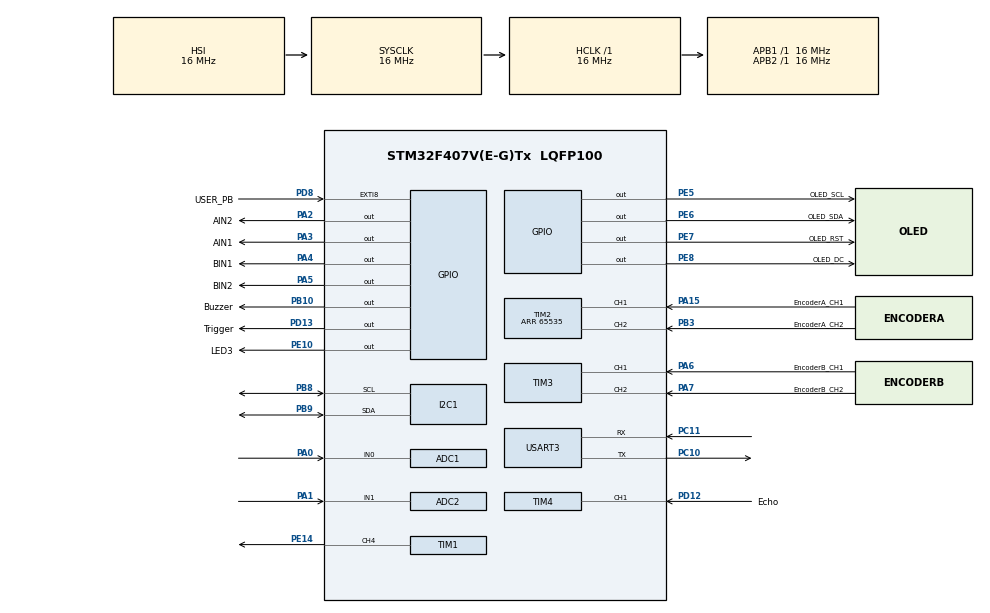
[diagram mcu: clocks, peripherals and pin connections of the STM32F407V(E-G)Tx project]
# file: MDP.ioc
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ADC1.Channel-0\#ChannelRegularConversion=ADC_CHANNEL_0
ADC1.NbrOfConversionFlag=1
ADC1.Rank-0\#ChannelRegularConversion=1
ADC1.SamplingTime-0\#ChannelRegularConversion=ADC_SAMPLETIME_3CYCLES
ADC1.master=1
ADC2.Channel-0\#ChannelRegularConversion=ADC_CHANNEL_1
ADC2.NbrOfConversionFlag=1
ADC2.Rank-0\#ChannelRegularConversion=1
ADC2.SamplingTime-0\#ChannelRegularConversion=ADC_SAMPLETIME_3CYCLES
FREERTOS.Tasks01=defaultTask,24,128,StartDefaultTask,Default,NULL,Dynamic,NULL,NULL;motorTask,8,128,StartMotorTask,Default,NULL,Dynamic,NULL,NULL;OLEDTask,8,128,StartOLEDTask,Default,NULL,Dynamic,NULL,NULL;gyroTask,8,128,StartGyroTask,Default,NULL,Dynamic,NULL,NULL;ultrasonicTask,8,128,StartUltrasonicTask,Default,NULL,Dynamic,NULL,NULL;communicateTask,8,128,StartCommunicateTask,Default,NULL,Dynamic,NULL,NULL;encoderTask,8,128,StartEncoderTask,Default,NULL,Dynamic,NULL,NULL;IRTask,8,128,StartIRTask,Default,NULL,Dynamic,NULL,NULL
FREERTOS.configUSE_NEWLIB_REENTRANT=1
Mcu.Family=STM32F4
Mcu.Name=STM32F407V(E-G)Tx
Mcu.Package=LQFP100
NVIC.PriorityGroup=NVIC_PRIORITYGROUP_4
NVIC.RCC_IRQn=true\:5\:0\:false\:false\:true\:true\:true\:false\:true
NVIC.TIM1_BRK_TIM9_IRQn=true\:5\:0\:false\:false\:true\:false\:true\:true\:true
NVIC.TIM1_UP_TIM10_IRQn=true\:5\:0\:false\:false\:true\:false\:true\:true\:true
NVIC.TIM4_IRQn=true\:5\:0\:false\:false\:true\:true\:true\:true\:true
NVIC.TIM8_TRG_COM_TIM14_IRQn=true\:5\:0\:false\:false\:true\:false\:true\:true\:true
NVIC.USART3_IRQn=true\:5\:0\:false\:false\:true\:true\:true\:true\:true
PA0-WKUP.Signal=ADCx_IN0
PA1.Signal=ADCx_IN1
PA15.GPIO_Label=EncoderA_CH1
PA15.Signal=S_TIM2_CH1_ETR
PA2.GPIO_Label=AIN2
PA2.GPIO_Speed=GPIO_SPEED_FREQ_HIGH
PA2.PinState=GPIO_PIN_RESET
PA2.Signal=GPIO_Output
PA3.GPIO_Label=AIN1
PA3.GPIO_Speed=GPIO_SPEED_FREQ_HIGH
PA3.Signal=GPIO_Output
PA4.GPIO_Label=BIN1
PA4.GPIO_Speed=GPIO_SPEED_FREQ_HIGH
PA4.Signal=GPIO_Output
PA5.GPIO_Label=BIN2
PA5.GPIO_Speed=GPIO_SPEED_FREQ_HIGH
PA5.Signal=GPIO_Output
PA6.GPIO_Label=EncoderB_CH1
PA6.Signal=S_TIM3_CH1
PA7.GPIO_Label=EncoderB_CH2
PA7.Signal=S_TIM3_CH2
PB10.GPIO_Label=Buzzer
PB10.Signal=GPIO_Output
PB3.GPIO_Label=EncoderA_CH2
PB3.Signal=S_TIM2_CH2
PB8.Mode=I2C
PB8.Signal=I2C1_SCL
PB9.Mode=I2C
PB9.Signal=I2C1_SDA
PC10.Mode=Asynchronous
PC10.Signal=USART3_TX
PC11.Mode=Asynchronous
PC11.Signal=USART3_RX
PC6.GPIO_Label=PWMA
PC6.Signal=S_TIM8_CH1
PC7.GPIO_Label=PWMB
PC7.Signal=S_TIM8_CH2
PD12.GPIO_Label=Echo
PD12.Signal=S_TIM4_CH1
PD13.GPIO_Label=Trigger
PD13.Signal=GPIO_Output
PD8.GPIO_Label=USER_PB
PD8.Signal=GPXTI8
PE10.GPIO_Label=LED3
PE10.Signal=GPIO_Output
PE14.Signal=S_TIM1_CH4
PE5.GPIO_Label=OLED_SCL
PE5.Signal=GPIO_Output
PE6.GPIO_Label=OLED_SDA
PE6.Signal=GPIO_Output
PE7.GPIO_Label=OLED_RST
PE7.Signal=GPIO_Output
PE8.GPIO_Label=OLED_DC
PE8.Signal=GPIO_Output
PH0-OSC_IN.Mode=HSE-External-Oscillator
PH0-OSC_IN.Signal=RCC_OSC_IN
PH1-OSC_OUT.Mode=HSE-External-Oscillator
PH1-OSC_OUT.Signal=RCC_OSC_OUT
ProjectManager.HeapSize=0x200
ProjectManager.StackSize=0x400
ProjectManager.TargetToolchain=STM32CubeIDE
RCC.AHBFreq_Value=16000000
RCC.APB1Freq_Value=16000000
RCC.APB2Freq_Value=16000000
RCC.CortexFreq_Value=16000000
RCC.HSE_VALUE=25000000
RCC.HSI_VALUE=16000000
RCC.LSE_VALUE=32768
RCC.SYSCLKFreq_VALUE=16000000
RCC.VCOOutputFreq_Value=192000000
SH.ADCx_IN0.0=ADC1_IN0,IN0
SH.ADCx_IN1.0=ADC2_IN1,IN1
SH.S_TIM1_CH4.0=TIM1_CH4,PWM Generation4 CH4
SH.S_TIM2_CH1_ETR.0=TIM2_CH1,Encoder_Interface
SH.S_TIM2_CH2.0=TIM2_CH2,Encoder_Interface
SH.S_TIM3_CH1.0=TIM3_CH1,Encoder_Interface
SH.S_TIM3_CH2.0=TIM3_CH2,Encoder_Interface
SH.S_TIM4_CH1.0=TIM4_CH1,Input_Capture1_from_TI1
SH.S_TIM8_CH1.0=TIM8_CH1
SH.S_TIM8_CH2.0=TIM8_CH2
TIM1.AutoReloadPreload=TIM_AUTORELOAD_PRELOAD_ENABLE
TIM1.Channel-PWM\ Generation4\ CH4=TIM_CHANNEL_4
TIM1.Period=1000
TIM1.Prescaler=160
TIM2.EncoderMode=TIM_ENCODERMODE_TI12
TIM2.IC1Filter=10
TIM2.IC2Filter=10
TIM2.Period=65535
TIM3.EncoderMode=TIM_ENCODERMODE_TI12
TIM3.IC1Filter=10
TIM3.IC2Filter=10
TIM4.Channel-Input_Capture1_from_TI1=TIM_CHANNEL_1
TIM8.Channel-PWM\ Generation1\ No\ Output=TIM_CHANNEL_1
TIM8.Channel-PWM\ Generation2\ No\ Output=TIM_CHANNEL_2
TIM8.Period=7199
USART3.VirtualMode=VM_ASYNC
VP_FREERTOS_VS_CMSIS_V2.Mode=CMSIS_V2
VP_TIM1_VS_ClockSourceINT.Mode=Internal
VP_TIM8_VS_ClockSourceINT.Mode=Internal
VP_TIM8_VS_no_output1.Mode=PWM Generation1 No Output
VP_TIM8_VS_no_output2.Mode=PWM Generation2 No Output
board=custom

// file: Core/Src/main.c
/* USER CODE BEGIN Header */
/**
 ******************************************************************************
 * @file           : main.c
 * @brief          : Main program body
 ******************************************************************************
 * @attention
 *
 * Copyright (c) 2023 STMicroelectronics.
 * All rights reserved.
 *
 * This software is licensed under terms that can be found in the LICENSE file
 * in the root directory of this software component.
 * If no LICENSE file comes with this software, it is provided AS-IS.
 *
 ******************************************************************************
 */
/* USER CODE END Header */
#include "main.h"
#include "cmsis_os.h"

/* USER CODE BEGIN Includes */
#include "oled.h"
#include "math.h"
/* USER CODE END Includes */

/* USER CODE BEGIN PD */
#define SERVOCENTER 146
#define SERVORIGHT 250
#define SERVOLEFT 95
/* USER CODE END PD */

ADC_HandleTypeDef hadc1;
ADC_HandleTypeDef hadc2;

I2C_HandleTypeDef hi2c1;

TIM_HandleTypeDef htim1;
TIM_HandleTypeDef htim2;
TIM_HandleTypeDef htim3;
TIM_HandleTypeDef htim4;
TIM_HandleTypeDef htim8;

UART_HandleTypeDef huart3;

/* Definitions for defaultTask */
osThreadId_t defaultTaskHandle;
const osThreadAttr_t defaultTask_attributes = { .name = "defaultTask",
		.stack_size = 128 * 4, .priority = (osPriority_t) osPriorityNormal, };
/* Definitions for motorTask */
osThreadId_t motorTaskHandle;
const osThreadAttr_t motorTask_attributes = { .name = "motorTask", .stack_size =
		128 * 4, .priority = (osPriority_t) osPriorityLow, };
/* Definitions for OLEDTask */
osThreadId_t OLEDTaskHandle;
const osThreadAttr_t OLEDTask_attributes = { .name = "OLEDTask", .stack_size =
		128 * 4, .priority = (osPriority_t) osPriorityLow, };
/* Definitions for gyroTask */
osThreadId_t gyroTaskHandle;
const osThreadAttr_t gyroTask_attributes = { .name = "gyroTask", .stack_size =
		128 * 4, .priority = (osPriority_t) osPriorityLow, };
/* Definitions for ultrasonicTask */
osThreadId_t ultrasonicTaskHandle;
const osThreadAttr_t ultrasonicTask_attributes = { .name = "ultrasonicTask",
		.stack_size = 128 * 4, .priority = (osPriority_t) osPriorityLow, };
/* Definitions for communicateTask */
osThreadId_t communicateTaskHandle;
const osThreadAttr_t communicateTask_attributes = { .name = "communicateTask",
		.stack_size = 128 * 4, .priority = (osPriority_t) osPriorityLow, };
/* Definitions for encoderTask */
osThreadId_t encoderTaskHandle;
const osThreadAttr_t encoderTask_attributes = { .name = "encoderTask",
		.stack_size = 128 * 4, .priority = (osPriority_t) osPriorityLow, };
/* Definitions for IRTask */
osThreadId_t IRTaskHandle;
const osThreadAttr_t IRTask_attributes = { .name = "IRTask", .stack_size = 128
		* 4, .priority = (osPriority_t) osPriorityLow, };

void SystemClock_Config(void);
static void MX_GPIO_Init(void);
static void MX_I2C1_Init(void);
static void MX_TIM1_Init(void);
static void MX_TIM2_Init(void);
static void MX_TIM3_Init(void);
static void MX_TIM4_Init(void);
static void MX_TIM8_Init(void);
static void MX_USART3_UART_Init(void);
static void MX_ADC1_Init(void);
static void MX_ADC2_Init(void);
void StartDefaultTask(void *argument);
void StartMotorTask(void *argument);
void StartOLEDTask(void *argument);
void StartGyroTask(void *argument);
void StartUltrasonicTask(void *argument);
void StartCommunicateTask(void *argument);
void StartEncoderTask(void *argument);
void StartIRTask(void *argument);

/* USER CODE BEGIN 0 */
// communication
uint8_t aRxBuffer[5] = { 0 };
char dataBuffer[3];
int flagDone = 0;
int magnitude = 0;

// movement
uint16_t pwmVal_servo = SERVOCENTER;
uint16_t pwmVal_R = 0;
uint16_t pwmVal_L = 0;
int times_acceptable = 0;
int e_brake = 0;

// encoder
int32_t rightEncoderVal = 0, leftEncoderVal = 0;
int32_t rightTarget = 0, leftTarget = 0;
double target_angle = 0;

// gyro
double total_angle = 0;
uint8_t gyroBuffer[20];
uint8_t ICMAddress = 0x68;

// ultrasonic
int Is_First_Captured = 0;
int32_t IC_Val1 = 0;
int32_t IC_Val2 = 0;
uint16_t Difference = 0;
uint16_t uDistance = 0;
int usFlag = 0;
int yFlag = 0;
uint16_t y = 0;
uint16_t usThreshold = 40;
int usSmall = 0;

// Low-Pass Filter for Ultrasonic Sensor
#define FILTER_ALPHA1 0.1 // Filter coefficient
float filtered_distance = 60; // Initialize filtered distance variable
uint16_t filtered_distance_int = 0;

// Low-Pass Filter for IR Sensor
#define FILTER_ALPHA2 0.15 // Filter coefficient
float filtered_irreading = 600; // Initialize filtered IR values variable
uint16_t filtered_irreading_int = 0;
float distanceirr = 0;
uint16_t distanceir = 0;
uint16_t initial_distance_ir = 0;
float distance_ir_window[10] = {0, 0, 0, 0, 0, 0, 0, 0, 0, 0};
float distance_ir_prev_mean = 0;
float distance_ir_cur_mean = 0;

// ir sensor
uint16_t iDistanceL = 0;
uint16_t iDistanceR = 0;
int irFlag = 0;
int jrFlag = 0;
int jFlag = 0;
int xFlag = 0;
int x = 0;
uint16_t irThreshold = 50;
int irResumeFlag = 1;

// locked flag for completion of buffer transmission via UART
int receivedInstruction = 0;

/* USER CODE END 0 */

int main(void) {

	/* MCU Configuration--------------------------------------------------------*/

	/* Reset of all peripherals, Initializes the Flash interface and the Systick. */
	HAL_Init();

	/* Configure the system clock */
	SystemClock_Config();

	/* Initialize all configured peripherals */
	MX_GPIO_Init();
	MX_I2C1_Init();
	MX_TIM1_Init();
	MX_TIM2_Init();
	MX_TIM3_Init();
	MX_TIM4_Init();
	MX_TIM8_Init();
	MX_USART3_UART_Init();
	MX_ADC1_Init();
	MX_ADC2_Init();
	/* USER CODE BEGIN 2 */
	OLED_Init();
	HAL_UART_Receive_IT(&huart3, (uint8_t*) aRxBuffer, 5);
	/* USER CODE END 2 */

	/* Init scheduler */
	osKernelInitialize();

	/* Create the thread(s) */
	/* creation of defaultTask */
	defaultTaskHandle = osThreadNew(StartDefaultTask, NULL,
			&defaultTask_attributes);

	/* creation of motorTask */
	motorTaskHandle = osThreadNew(StartMotorTask, NULL, &motorTask_attributes);

	/* creation of OLEDTask */
	OLEDTaskHandle = osThreadNew(StartOLEDTask, NULL, &OLEDTask_attributes);

	/* creation of gyroTask */
	gyroTaskHandle = osThreadNew(StartGyroTask, NULL, &gyroTask_attributes);

	/* creation of ultrasonicTask */
	ultrasonicTaskHandle = osThreadNew(StartUltrasonicTask, NULL,
			&ultrasonicTask_attributes);

	/* creation of communicateTask */
	communicateTaskHandle = osThreadNew(StartCommunicateTask, NULL,
			&communicateTask_attributes);

	/* creation of encoderTask */
	encoderTaskHandle = osThreadNew(StartEncoderTask, NULL,
			&encoderTask_attributes);

	/* creation of IRTask */
	IRTaskHandle = osThreadNew(StartIRTask, NULL, &IRTask_attributes);

	/* Start scheduler */
	osKernelStart();

	/* We should never get here as control is now taken by the scheduler */
	/* Infinite loop */
	while (1) {

	}
}

void SystemClock_Config(void) {
	RCC_OscInitTypeDef RCC_OscInitStruct = { 0 };
	RCC_ClkInitTypeDef RCC_ClkInitStruct = { 0 };

	/** Configure the main internal regulator output voltage
	 */
	__HAL_RCC_PWR_CLK_ENABLE();
	__HAL_PWR_VOLTAGESCALING_CONFIG(PWR_REGULATOR_VOLTAGE_SCALE1);

	/** Initializes the RCC Oscillators according to the specified parameters
	 * in the RCC_OscInitTypeDef structure.
	 */
	RCC_OscInitStruct.OscillatorType = RCC_OSCILLATORTYPE_HSI;
	RCC_OscInitStruct.HSIState = RCC_HSI_ON;
	RCC_OscInitStruct.HSICalibrationValue = RCC_HSICALIBRATION_DEFAULT;
	RCC_OscInitStruct.PLL.PLLState = RCC_PLL_NONE;
	if (HAL_RCC_OscConfig(&RCC_OscInitStruct) != HAL_OK) {
		Error_Handler();
	}

	/** Initializes the CPU, AHB and APB buses clocks
	 */
	RCC_ClkInitStruct.ClockType = RCC_CLOCKTYPE_HCLK | RCC_CLOCKTYPE_SYSCLK
			| RCC_CLOCKTYPE_PCLK1 | RCC_CLOCKTYPE_PCLK2;
	RCC_ClkInitStruct.SYSCLKSource = RCC_SYSCLKSOURCE_HSI;
	RCC_ClkInitStruct.AHBCLKDivider = RCC_SYSCLK_DIV1;
	RCC_ClkInitStruct.APB1CLKDivider = RCC_HCLK_DIV1;
	RCC_ClkInitStruct.APB2CLKDivider = RCC_HCLK_DIV1;

	if (HAL_RCC_ClockConfig(&RCC_ClkInitStruct, FLASH_LATENCY_0) != HAL_OK) {
		Error_Handler();
	}
}

static void MX_ADC1_Init(void) {

	ADC_ChannelConfTypeDef sConfig = { 0 };

	/** Configure the global features of the ADC (Clock, Resolution, Data Alignment and number of conversion)
	 */
	hadc1.Instance = ADC1;
	hadc1.Init.ClockPrescaler = ADC_CLOCK_SYNC_PCLK_DIV2;
	hadc1.Init.Resolution = ADC_RESOLUTION_12B;
	hadc1.Init.ScanConvMode = DISABLE;
	hadc1.Init.ContinuousConvMode = DISABLE;
	hadc1.Init.DiscontinuousConvMode = DISABLE;
	hadc1.Init.ExternalTrigConvEdge = ADC_EXTERNALTRIGCONVEDGE_NONE;
	hadc1.Init.ExternalTrigConv = ADC_SOFTWARE_START;
	hadc1.Init.DataAlign = ADC_DATAALIGN_RIGHT;
	hadc1.Init.NbrOfConversion = 1;
	hadc1.Init.DMAContinuousRequests = DISABLE;
	hadc1.Init.EOCSelection = ADC_EOC_SINGLE_CONV;
	if (HAL_ADC_Init(&hadc1) != HAL_OK) {
		Error_Handler();
	}

	/** Configure for the selected ADC regular channel its corresponding rank in the sequencer and its sample time.
	 */
	sConfig.Channel = ADC_CHANNEL_0;
	sConfig.Rank = 1;
	sConfig.SamplingTime = ADC_SAMPLETIME_3CYCLES;
	if (HAL_ADC_ConfigChannel(&hadc1, &sConfig) != HAL_OK) {
		Error_Handler();
	}

}

static void MX_ADC2_Init(void) {

	ADC_ChannelConfTypeDef sConfig = { 0 };

	/** Configure the global features of the ADC (Clock, Resolution, Data Alignment and number of conversion)
	 */
	hadc2.Instance = ADC2;
	hadc2.Init.ClockPrescaler = ADC_CLOCK_SYNC_PCLK_DIV2;
	hadc2.Init.Resolution = ADC_RESOLUTION_12B;
	hadc2.Init.ScanConvMode = DISABLE;
	hadc2.Init.ContinuousConvMode = DISABLE;
	hadc2.Init.DiscontinuousConvMode = DISABLE;
	hadc2.Init.ExternalTrigConvEdge = ADC_EXTERNALTRIGCONVEDGE_NONE;
	hadc2.Init.ExternalTrigConv = ADC_SOFTWARE_START;
	hadc2.Init.DataAlign = ADC_DATAALIGN_RIGHT;
	hadc2.Init.NbrOfConversion = 1;
	hadc2.Init.DMAContinuousRequests = DISABLE;
	hadc2.Init.EOCSelection = ADC_EOC_SINGLE_CONV;
	if (HAL_ADC_Init(&hadc2) != HAL_OK) {
		Error_Handler();
	}

	/** Configure for the selected ADC regular channel its corresponding rank in the sequencer and its sample time.
	 */
	sConfig.Channel = ADC_CHANNEL_1;
	sConfig.Rank = 1;
	sConfig.SamplingTime = ADC_SAMPLETIME_3CYCLES;
	if (HAL_ADC_ConfigChannel(&hadc2, &sConfig) != HAL_OK) {
		Error_Handler();
	}

}

static void MX_I2C1_Init(void) {

	hi2c1.Instance = I2C1;
	hi2c1.Init.ClockSpeed = 100000;
	hi2c1.Init.DutyCycle = I2C_DUTYCYCLE_2;
	hi2c1.Init.OwnAddress1 = 0;
	hi2c1.Init.AddressingMode = I2C_ADDRESSINGMODE_7BIT;
	hi2c1.Init.DualAddressMode = I2C_DUALADDRESS_DISABLE;
	hi2c1.Init.OwnAddress2 = 0;
	hi2c1.Init.GeneralCallMode = I2C_GENERALCALL_DISABLE;
	hi2c1.Init.NoStretchMode = I2C_NOSTRETCH_DISABLE;
	if (HAL_I2C_Init(&hi2c1) != HAL_OK) {
		Error_Handler();
	}

}

static void MX_TIM1_Init(void) {

	TIM_ClockConfigTypeDef sClockSourceConfig = { 0 };
	TIM_MasterConfigTypeDef sMasterConfig = { 0 };
	TIM_OC_InitTypeDef sConfigOC = { 0 };
	TIM_BreakDeadTimeConfigTypeDef sBreakDeadTimeConfig = { 0 };

	htim1.Instance = TIM1;
	htim1.Init.Prescaler = 160;
	htim1.Init.CounterMode = TIM_COUNTERMODE_UP;
	htim1.Init.Period = 1000;
	htim1.Init.ClockDivision = TIM_CLOCKDIVISION_DIV1;
	htim1.Init.RepetitionCounter = 0;
	htim1.Init.AutoReloadPreload = TIM_AUTORELOAD_PRELOAD_ENABLE;
	if (HAL_TIM_Base_Init(&htim1) != HAL_OK) {
		Error_Handler();
	}
	sClockSourceConfig.ClockSource = TIM_CLOCKSOURCE_INTERNAL;
	if (HAL_TIM_ConfigClockSource(&htim1, &sClockSourceConfig) != HAL_OK) {
		Error_Handler();
	}
	if (HAL_TIM_PWM_Init(&htim1) != HAL_OK) {
		Error_Handler();
	}
	sMasterConfig.MasterOutputTrigger = TIM_TRGO_RESET;
	sMasterConfig.MasterSlaveMode = TIM_MASTERSLAVEMODE_DISABLE;
	if (HAL_TIMEx_MasterConfigSynchronization(&htim1, &sMasterConfig)
			!= HAL_OK) {
		Error_Handler();
	}
	sConfigOC.OCMode = TIM_OCMODE_PWM1;
	sConfigOC.Pulse = 0;
	sConfigOC.OCPolarity = TIM_OCPOLARITY_HIGH;
	sConfigOC.OCFastMode = TIM_OCFAST_DISABLE;
	sConfigOC.OCIdleState = TIM_OCIDLESTATE_RESET;
	sConfigOC.OCNIdleState = TIM_OCNIDLESTATE_RESET;
	if (HAL_TIM_PWM_ConfigChannel(&htim1, &sConfigOC, TIM_CHANNEL_4)
			!= HAL_OK) {
		Error_Handler();
	}
	sBreakDeadTimeConfig.OffStateRunMode = TIM_OSSR_DISABLE;
	sBreakDeadTimeConfig.OffStateIDLEMode = TIM_OSSI_DISABLE;
	sBreakDeadTimeConfig.LockLevel = TIM_LOCKLEVEL_OFF;
	sBreakDeadTimeConfig.DeadTime = 0;
	sBreakDeadTimeConfig.BreakState = TIM_BREAK_DISABLE;
	sBreakDeadTimeConfig.BreakPolarity = TIM_BREAKPOLARITY_HIGH;
	sBreakDeadTimeConfig.AutomaticOutput = TIM_AUTOMATICOUTPUT_DISABLE;
	if (HAL_TIMEx_ConfigBreakDeadTime(&htim1, &sBreakDeadTimeConfig)
			!= HAL_OK) {
		Error_Handler();
	}
	HAL_TIM_MspPostInit(&htim1);

}

static void MX_TIM2_Init(void) {

	TIM_Encoder_InitTypeDef sConfig = { 0 };
	TIM_MasterConfigTypeDef sMasterConfig = { 0 };

	htim2.Instance = TIM2;
	htim2.Init.Prescaler = 0;
	htim2.Init.CounterMode = TIM_COUNTERMODE_UP;
	htim2.Init.Period = 65535;
	htim2.Init.ClockDivision = TIM_CLOCKDIVISION_DIV1;
	htim2.Init.AutoReloadPreload = TIM_AUTORELOAD_PRELOAD_DISABLE;
	sConfig.EncoderMode = TIM_ENCODERMODE_TI12;
	sConfig.IC1Polarity = TIM_ICPOLARITY_RISING;
	sConfig.IC1Selection = TIM_ICSELECTION_DIRECTTI;
	sConfig.IC1Prescaler = TIM_ICPSC_DIV1;
	sConfig.IC1Filter = 10;
	sConfig.IC2Polarity = TIM_ICPOLARITY_RISING;
	sConfig.IC2Selection = TIM_ICSELECTION_DIRECTTI;
	sConfig.IC2Prescaler = TIM_ICPSC_DIV1;
	sConfig.IC2Filter = 10;
	if (HAL_TIM_Encoder_Init(&htim2, &sConfig) != HAL_OK) {
		Error_Handler();
	}
	sMasterConfig.MasterOutputTrigger = TIM_TRGO_RESET;
	sMasterConfig.MasterSlaveMode = TIM_MASTERSLAVEMODE_DISABLE;
	if (HAL_TIMEx_MasterConfigSynchronization(&htim2, &sMasterConfig)
			!= HAL_OK) {
		Error_Handler();
	}

}

static void MX_TIM3_Init(void) {

	TIM_Encoder_InitTypeDef sConfig = { 0 };
	TIM_MasterConfigTypeDef sMasterConfig = { 0 };

	htim3.Instance = TIM3;
	htim3.Init.Prescaler = 0;
	htim3.Init.CounterMode = TIM_COUNTERMODE_UP;
	htim3.Init.Period = 65535;
	htim3.Init.ClockDivision = TIM_CLOCKDIVISION_DIV1;
	htim3.Init.AutoReloadPreload = TIM_AUTORELOAD_PRELOAD_DISABLE;
	sConfig.EncoderMode = TIM_ENCODERMODE_TI12;
	sConfig.IC1Polarity = TIM_ICPOLARITY_RISING;
	sConfig.IC1Selection = TIM_ICSELECTION_DIRECTTI;
	sConfig.IC1Prescaler = TIM_ICPSC_DIV1;
	sConfig.IC1Filter = 10;
	sConfig.IC2Polarity = TIM_ICPOLARITY_RISING;
	sConfig.IC2Selection = TIM_ICSELECTION_DIRECTTI;
	sConfig.IC2Prescaler = TIM_ICPSC_DIV1;
	sConfig.IC2Filter = 10;
	if (HAL_TIM_Encoder_Init(&htim3, &sConfig) != HAL_OK) {
		Error_Handler();
	}
	sMasterConfig.MasterOutputTrigger = TIM_TRGO_RESET;
	sMasterConfig.MasterSlaveMode = TIM_MASTERSLAVEMODE_DISABLE;
	if (HAL_TIMEx_MasterConfigSynchronization(&htim3, &sMasterConfig)
			!= HAL_OK) {
		Error_Handler();
	}

}

static void MX_TIM4_Init(void) {

	TIM_MasterConfigTypeDef sMasterConfig = { 0 };
	TIM_IC_InitTypeDef sConfigIC = { 0 };

	htim4.Instance = TIM4;
	htim4.Init.Prescaler = 16 - 1;
	htim4.Init.CounterMode = TIM_COUNTERMODE_UP;
	htim4.Init.Period = 65535;
	htim4.Init.ClockDivision = TIM_CLOCKDIVISION_DIV1;
	htim4.Init.AutoReloadPreload = TIM_AUTORELOAD_PRELOAD_DISABLE;
	if (HAL_TIM_IC_Init(&htim4) != HAL_OK) {
		Error_Handler();
	}
	sMasterConfig.MasterOutputTrigger = TIM_TRGO_RESET;
	sMasterConfig.MasterSlaveMode = TIM_MASTERSLAVEMODE_DISABLE;
	if (HAL_TIMEx_MasterConfigSynchronization(&htim4, &sMasterConfig)
			!= HAL_OK) {
		Error_Handler();
	}
	sConfigIC.ICPolarity = TIM_INPUTCHANNELPOLARITY_RISING;
	sConfigIC.ICSelection = TIM_ICSELECTION_DIRECTTI;
	sConfigIC.ICPrescaler = TIM_ICPSC_DIV1;
	sConfigIC.ICFilter = 0;
	if (HAL_TIM_IC_ConfigChannel(&htim4, &sConfigIC, TIM_CHANNEL_1) != HAL_OK) {
		Error_Handler();
	}

}

static void MX_TIM8_Init(void) {

	TIM_ClockConfigTypeDef sClockSourceConfig = { 0 };
	TIM_MasterConfigTypeDef sMasterConfig = { 0 };
	TIM_OC_InitTypeDef sConfigOC = { 0 };
	TIM_BreakDeadTimeConfigTypeDef sBreakDeadTimeConfig = { 0 };

	htim8.Instance = TIM8;
	htim8.Init.Prescaler = 0;
	htim8.Init.CounterMode = TIM_COUNTERMODE_UP;
	htim8.Init.Period = 7199;
	htim8.Init.ClockDivision = TIM_CLOCKDIVISION_DIV1;
	htim8.Init.RepetitionCounter = 0;
	htim8.Init.AutoReloadPreload = TIM_AUTORELOAD_PRELOAD_DISABLE;
	if (HAL_TIM_Base_Init(&htim8) != HAL_OK) {
		Error_Handler();
	}
	sClockSourceConfig.ClockSource = TIM_CLOCKSOURCE_INTERNAL;
	if (HAL_TIM_ConfigClockSource(&htim8, &sClockSourceConfig) != HAL_OK) {
		Error_Handler();
	}
	if (HAL_TIM_PWM_Init(&htim8) != HAL_OK) {
		Error_Handler();
	}
	sMasterConfig.MasterOutputTrigger = TIM_TRGO_RESET;
	sMasterConfig.MasterSlaveMode = TIM_MASTERSLAVEMODE_DISABLE;
	if (HAL_TIMEx_MasterConfigSynchronization(&htim8, &sMasterConfig)
			!= HAL_OK) {
		Error_Handler();
	}
	sConfigOC.OCMode = TIM_OCMODE_PWM1;
	sConfigOC.Pulse = 0;
	sConfigOC.OCPolarity = TIM_OCPOLARITY_HIGH;
	sConfigOC.OCNPolarity = TIM_OCNPOLARITY_HIGH;
	sConfigOC.OCFastMode = TIM_OCFAST_DISABLE;
	sConfigOC.OCIdleState = TIM_OCIDLESTATE_RESET;
	sConfigOC.OCNIdleState = TIM_OCNIDLESTATE_RESET;
	if (HAL_TIM_PWM_ConfigChannel(&htim8, &sConfigOC, TIM_CHANNEL_1)
			!= HAL_OK) {
		Error_Handler();
	}
	if (HAL_TIM_PWM_ConfigChannel(&htim8, &sConfigOC, TIM_CHANNEL_2)
			!= HAL_OK) {
		Error_Handler();
	}
	sBreakDeadTimeConfig.OffStateRunMode = TIM_OSSR_DISABLE;
	sBreakDeadTimeConfig.OffStateIDLEMode = TIM_OSSI_DISABLE;
	sBreakDeadTimeConfig.LockLevel = TIM_LOCKLEVEL_OFF;
	sBreakDeadTimeConfig.DeadTime = 0;
	sBreakDeadTimeConfig.BreakState = TIM_BREAK_DISABLE;
	sBreakDeadTimeConfig.BreakPolarity = TIM_BREAKPOLARITY_HIGH;
	sBreakDeadTimeConfig.AutomaticOutput = TIM_AUTOMATICOUTPUT_DISABLE;
	if (HAL_TIMEx_ConfigBreakDeadTime(&htim8, &sBreakDeadTimeConfig)
			!= HAL_OK) {
		Error_Handler();
	}

}

static void MX_USART3_UART_Init(void) {

	huart3.Instance = USART3;
	huart3.Init.BaudRate = 115200;
	huart3.Init.WordLength = UART_WORDLENGTH_8B;
	huart3.Init.StopBits = UART_STOPBITS_1;
	huart3.Init.Parity = UART_PARITY_NONE;
	huart3.Init.Mode = UART_MODE_TX_RX;
	huart3.Init.HwFlowCtl = UART_HWCONTROL_NONE;
	huart3.Init.OverSampling = UART_OVERSAMPLING_16;
	if (HAL_UART_Init(&huart3) != HAL_OK) {
		Error_Handler();
	}

}

static void MX_GPIO_Init(void) {
	GPIO_InitTypeDef GPIO_InitStruct = { 0 };

	/* GPIO Ports Clock Enable */
	__HAL_RCC_GPIOE_CLK_ENABLE();
	__HAL_RCC_GPIOH_CLK_ENABLE();
	__HAL_RCC_GPIOA_CLK_ENABLE();
	__HAL_RCC_GPIOB_CLK_ENABLE();
	__HAL_RCC_GPIOD_CLK_ENABLE();
	__HAL_RCC_GPIOC_CLK_ENABLE();

	/*Configure GPIO pin Output Level */
	HAL_GPIO_WritePin(GPIOE,
	OLED_SCL_Pin | OLED_SDA_Pin | OLED_RST_Pin | OLED_DC_Pin | LED3_Pin,
			GPIO_PIN_RESET);

	/*Configure GPIO pin Output Level */
	HAL_GPIO_WritePin(GPIOA, AIN2_Pin | AIN1_Pin | BIN1_Pin | BIN2_Pin,
			GPIO_PIN_RESET);

	/*Configure GPIO pin Output Level */
	HAL_GPIO_WritePin(Buzzer_GPIO_Port, Buzzer_Pin, GPIO_PIN_RESET);

	/*Configure GPIO pin Output Level */
	HAL_GPIO_WritePin(Trigger_GPIO_Port, Trigger_Pin, GPIO_PIN_RESET);

	/*Configure GPIO pins : OLED_SCL_Pin OLED_SDA_Pin OLED_RST_Pin OLED_DC_Pin
	 LED3_Pin */
	GPIO_InitStruct.Pin = OLED_SCL_Pin | OLED_SDA_Pin | OLED_RST_Pin
			| OLED_DC_Pin | LED3_Pin;
	GPIO_InitStruct.Mode = GPIO_MODE_OUTPUT_PP;
	GPIO_InitStruct.Pull = GPIO_NOPULL;
	GPIO_InitStruct.Speed = GPIO_SPEED_FREQ_LOW;
	HAL_GPIO_Init(GPIOE, &GPIO_InitStruct);

	/*Configure GPIO pins : AIN2_Pin AIN1_Pin BIN1_Pin BIN2_Pin */
	GPIO_InitStruct.Pin = AIN2_Pin | AIN1_Pin | BIN1_Pin | BIN2_Pin;
	GPIO_InitStruct.Mode = GPIO_MODE_OUTPUT_PP;
	GPIO_InitStruct.Pull = GPIO_NOPULL;
	GPIO_InitStruct.Speed = GPIO_SPEED_FREQ_HIGH;
	HAL_GPIO_Init(GPIOA, &GPIO_InitStruct);

	/*Configure GPIO pin : Buzzer_Pin */
	GPIO_InitStruct.Pin = Buzzer_Pin;
	GPIO_InitStruct.Mode = GPIO_MODE_OUTPUT_PP;
	GPIO_InitStruct.Pull = GPIO_NOPULL;
	GPIO_InitStruct.Speed = GPIO_SPEED_FREQ_LOW;
	HAL_GPIO_Init(Buzzer_GPIO_Port, &GPIO_InitStruct);

	/*Configure GPIO pin : USER_PB_Pin */
	GPIO_InitStruct.Pin = USER_PB_Pin;
	GPIO_InitStruct.Mode = GPIO_MODE_IT_RISING;
	GPIO_InitStruct.Pull = GPIO_NOPULL;
	HAL_GPIO_Init(USER_PB_GPIO_Port, &GPIO_InitStruct);

	/*Configure GPIO pin : Trigger_Pin */
	GPIO_InitStruct.Pin = Trigger_Pin;
	GPIO_InitStruct.Mode = GPIO_MODE_OUTPUT_PP;
	GPIO_InitStruct.Pull = GPIO_NOPULL;
	GPIO_InitStruct.Speed = GPIO_SPEED_FREQ_LOW;
	HAL_GPIO_Init(Trigger_GPIO_Port, &GPIO_InitStruct);

}

/* USER CODE BEGIN 4 */
// communication
void HAL_UART_RxCpltCallback(UART_HandleTypeDef *huart) {
	/* to prevent unused argument(s) compilation warning */
	UNUSED(huart);
	HAL_UART_Receive_IT(&huart3, aRxBuffer, 5);
	receivedInstruction = 1;
}

// ultrasonic
void delay(uint16_t time) {
	__HAL_TIM_SET_COUNTER(&htim4, 0);
	while (__HAL_TIM_GET_COUNTER (&htim4) < time)
		;
}

void HAL_TIM_IC_CaptureCallback(TIM_HandleTypeDef *htim) {
	if (htim->Channel == HAL_TIM_ACTIVE_CHANNEL_1) {
		if (Is_First_Captured == 0) {
			IC_Val1 = HAL_TIM_ReadCapturedValue(htim, TIM_CHANNEL_1);
			Is_First_Captured = 1;
			__HAL_TIM_SET_CAPTUREPOLARITY(htim, TIM_CHANNEL_1,
					TIM_INPUTCHANNELPOLARITY_FALLING);
		} else if (Is_First_Captured == 1) {
			IC_Val2 = HAL_TIM_ReadCapturedValue(htim, TIM_CHANNEL_1);
			__HAL_TIM_SET_COUNTER(htim, 0);

			if (IC_Val2 > IC_Val1) {
				Difference = IC_Val2 - IC_Val1;
			}

			else if (IC_Val1 > IC_Val2) {
				Difference = (65535 - IC_Val1) + IC_Val2;
			}

			// Convert Ultrasonic raw values to Distance
			uDistance = Difference * .0343 / 2;

			// Low-pass filter equation
			filtered_distance = (FILTER_ALPHA1 * uDistance) + ((1 - FILTER_ALPHA1) * filtered_distance);
			filtered_distance_int = (int) filtered_distance;

			Is_First_Captured = 0;

			__HAL_TIM_SET_CAPTUREPOLARITY(htim, TIM_CHANNEL_1,
					TIM_INPUTCHANNELPOLARITY_RISING);
			__HAL_TIM_DISABLE_IT(&htim4, TIM_IT_CC1);
		}
	}
}

void HCSR04_Read(void) //Call when u want to get reading from US
{
	HAL_GPIO_WritePin(Trigger_GPIO_Port, Trigger_Pin, GPIO_PIN_SET);
	delay(20);
	HAL_GPIO_WritePin(Trigger_GPIO_Port, Trigger_Pin, GPIO_PIN_RESET);
	__HAL_TIM_ENABLE_IT(&htim4, TIM_IT_CC1);
}

// movement
void moveCarStraight(double distance) {
	distance = distance * 75;
	pwmVal_servo = SERVOCENTER;
	osDelay(300);
	e_brake = 0;
	times_acceptable = 0;
	rightEncoderVal = 75000;
	leftEncoderVal = 75000;
	rightTarget = 75000;
	leftTarget = 75000;
	rightTarget += distance;
	leftTarget += distance;
	while (finishCheck())
		;
}

void moveCarStop() {
	e_brake = 1;
	pwmVal_servo = SERVOCENTER;
	osDelay(200);
}

void moveCarRight(double angle) {
	float diff = (float) abs(pwmVal_servo - SERVORIGHT);
	float perc = diff/(SERVORIGHT - SERVOLEFT);
	pwmVal_servo = SERVORIGHT;
	osDelay(450);
	e_brake = 0;
	times_acceptable = 0;
	target_angle -= angle;
	while (finishCheck())
		;
}

void moveCarLeft(double angle) {
	float diff = (float) abs(pwmVal_servo - SERVORIGHT);
	float perc = diff/(SERVORIGHT - SERVOLEFT);
	pwmVal_servo = SERVOLEFT;
	osDelay(450);
	e_brake = 0;
	times_acceptable = 0;
	target_angle += angle;
	while (finishCheck())
		;
}

// error correction
int PID_Control(int error, int right) {
	if (right) { //rightMotor
		if (error > 0) { //go forward
			HAL_GPIO_WritePin(GPIOA, BIN1_Pin, GPIO_PIN_SET); // set direction of rotation for wheel B- forward
			HAL_GPIO_WritePin(GPIOA, BIN2_Pin, GPIO_PIN_RESET);
		} else { //go backward
			HAL_GPIO_WritePin(GPIOA, BIN1_Pin, GPIO_PIN_RESET); // set direction of rotation for wheel B - reverse
			HAL_GPIO_WritePin(GPIOA, BIN2_Pin, GPIO_PIN_SET);
		}
	} else { //leftMotor
		if (error > 0) { //go forward
			HAL_GPIO_WritePin(GPIOA, AIN1_Pin, GPIO_PIN_SET); // set direction of rotation for wheel A - forward
			HAL_GPIO_WritePin(GPIOA, AIN2_Pin, GPIO_PIN_RESET);
		} else { //go backward
			HAL_GPIO_WritePin(GPIOA, AIN1_Pin, GPIO_PIN_RESET); // set direction of rotation for wheel A - reverse
			HAL_GPIO_WritePin(GPIOA, AIN2_Pin, GPIO_PIN_SET);
		}
	}

	error = abs(error);
	if (error > 2000) {
		return 3000;
	} else if (error > 500) {
		return 2000;
	} else if (error > 200) {
		return 1400;
	} else if (error > 100) {
		return 1000;
	} else if (error > 2) {
		times_acceptable++;
		return 500;
	} else if (error >= 1) {
		times_acceptable++;
		return 0;
	} else {
		times_acceptable++;
		return 0;
	}
}

int PID_Angle(double errord, int right) {
	int error = (int) (errord * 10);
	if (right) { //rightMotor
		if (error > 0) { //go forward
			HAL_GPIO_WritePin(GPIOA, BIN1_Pin, GPIO_PIN_SET); // set direction of rotation for wheel B- forward
			HAL_GPIO_WritePin(GPIOA, BIN2_Pin, GPIO_PIN_RESET);
		} else { //go backward
			HAL_GPIO_WritePin(GPIOA, BIN1_Pin, GPIO_PIN_RESET); // set direction of rotation for wheel B - reverse
			HAL_GPIO_WritePin(GPIOA, BIN2_Pin, GPIO_PIN_SET);
		}
	} else { //leftMotor
		if (error < 0) { //go forward
			HAL_GPIO_WritePin(GPIOA, AIN1_Pin, GPIO_PIN_SET); // set direction of rotation for wheel A - forward
			HAL_GPIO_WritePin(GPIOA, AIN2_Pin, GPIO_PIN_RESET);
		} else { //go backward
			HAL_GPIO_WritePin(GPIOA, AIN1_Pin, GPIO_PIN_RESET); // set direction of rotation for wheel A - reverse
			HAL_GPIO_WritePin(GPIOA, AIN2_Pin, GPIO_PIN_SET);
		}
	}

	error = abs(error);
	if (error > 300) {
		return 3000;
	} else if (error > 200) {
		return 2000;
	} else if (error > 150) {
		return 1600;
	} else if (error > 100) {
		return 1400;
	} else if (error > 10) {
		return 1000;
	} else if (error >= 2) {
		times_acceptable++;
		return 600;
	} else {
		times_acceptable++;
		return 0;
	}
}

int finishCheck() {
	if (times_acceptable > 20) {
		e_brake = 1;
		pwmVal_L = pwmVal_R = 0;
		leftTarget = leftEncoderVal;
		rightTarget = rightEncoderVal;
		times_acceptable = 0;
		osDelay(300);
		return 0;
	}
	return 1;
}

// gyro
void readByte(uint8_t addr, uint8_t *data) {
	gyroBuffer[0] = addr;
	HAL_I2C_Master_Transmit(&hi2c1, ICMAddress << 1, gyroBuffer, 1, 10);
	HAL_I2C_Master_Receive(&hi2c1, ICMAddress << 1, data, 2, 20);
}

void writeByte(uint8_t addr, uint8_t data) {
	gyroBuffer[0] = addr;
	gyroBuffer[1] = data;
	HAL_I2C_Master_Transmit(&hi2c1, ICMAddress << 1, gyroBuffer, 2, 20);
}

void gyroInit() {
	writeByte(0x06, 0x00);
	osDelay(10);
	writeByte(0x03, 0x80);
	osDelay(10);
	writeByte(0x07, 0x07);
	osDelay(10);
	writeByte(0x06, 0x01);
	osDelay(10);
	writeByte(0x7F, 0x20);
	osDelay(10);
	writeByte(0x01, 0x2F);
	osDelay(10);
	writeByte(0x0, 0x00);
	osDelay(10);
	writeByte(0x7F, 0x00);
	osDelay(10);
	writeByte(0x07, 0x00);
	osDelay(10);
}

// ir sensor
void IR_Left_Read() {
	HAL_ADC_Start(&hadc1);
	HAL_ADC_PollForConversion(&hadc1, 10);
	iDistanceL = HAL_ADC_GetValue(&hadc1);
	HAL_ADC_Stop(&hadc1);

	// Low-pass filter equation
	filtered_irreading = (FILTER_ALPHA2 * iDistanceL) + ((1 - FILTER_ALPHA2) * filtered_irreading);
	filtered_irreading_int = (int) filtered_irreading;

	// Linear-regression formula to convert IR Values to distance
	distanceirr = pow(10, -1.754*(log10((float) filtered_irreading))+7.064);
	distanceir = (int) distanceirr;
}

void IR_Right_Read() {
	HAL_ADC_Start(&hadc2);
	HAL_ADC_PollForConversion(&hadc2, 10);
	iDistanceR = HAL_ADC_GetValue(&hadc2);
	HAL_ADC_Stop(&hadc2);
}
/* USER CODE END 4 */

void StartDefaultTask(void *argument) {
	/* USER CODE BEGIN 5 */
	/* Infinite loop */
	for (;;) {
		HAL_GPIO_TogglePin(LED3_GPIO_Port, LED3_Pin);
		osDelay(2000);
	}
	/* USER CODE END 5 */
}

void StartMotorTask(void *argument) {
	/* USER CODE BEGIN StartMotorTask */
	pwmVal_R = 0;
	pwmVal_L = 0;
	int straightCorrection = 0;
	HAL_TIM_PWM_Start(&htim8, TIM_CHANNEL_1);
	HAL_TIM_PWM_Start(&htim8, TIM_CHANNEL_2);
	HAL_TIM_PWM_Start(&htim1, TIM_CHANNEL_4);
	htim1.Instance->CCR4 = SERVOCENTER; //Centre

	HAL_GPIO_WritePin(GPIOA, BIN1_Pin, GPIO_PIN_SET); // set direction of rotation for wheel B- forward
	HAL_GPIO_WritePin(GPIOA, BIN2_Pin, GPIO_PIN_RESET);
	HAL_GPIO_WritePin(GPIOA, AIN1_Pin, GPIO_PIN_SET); // set direction of rotation for wheel A - forward
	HAL_GPIO_WritePin(GPIOA, AIN2_Pin, GPIO_PIN_RESET);
	osDelay(1000);

	/* Infinite loop */
	for (;;) {
		htim1.Instance->CCR4 = pwmVal_servo;
		double error_angle = target_angle - total_angle;

		if (pwmVal_servo < 127) { //106 //TURN LEFT
			pwmVal_R = PID_Angle(error_angle, 1) * 1.072;  //right is master
			pwmVal_L = pwmVal_R * (0.59); //left is slave

			if (error_angle > 0) {
				//go forward
				HAL_GPIO_WritePin(GPIOA, AIN1_Pin, GPIO_PIN_SET); // set direction of rotation for wheel A- forward
				HAL_GPIO_WritePin(GPIOA, AIN2_Pin, GPIO_PIN_RESET);
			} else {
				//go backward
				HAL_GPIO_WritePin(GPIOA, AIN1_Pin, GPIO_PIN_RESET); // set direction of rotation for wheel A - reverse
				HAL_GPIO_WritePin(GPIOA, AIN2_Pin, GPIO_PIN_SET);
			}
		}

		else if (pwmVal_servo > 189) { //230 //TURN RIGHT
			pwmVal_L = PID_Angle(error_angle, 0);
			pwmVal_R = pwmVal_L * (0.59); //right is slave

			if (error_angle < 0) {
				//go forward
				HAL_GPIO_WritePin(GPIOA, BIN1_Pin, GPIO_PIN_SET); // set direction of rotation for wheel B- forward
				HAL_GPIO_WritePin(GPIOA, BIN2_Pin, GPIO_PIN_RESET);
			} else {
				//go backward
				HAL_GPIO_WritePin(GPIOA, BIN1_Pin, GPIO_PIN_RESET); // set direction of rotation for wheel B - reverse
				HAL_GPIO_WritePin(GPIOA, BIN2_Pin, GPIO_PIN_SET);
			}
		}

		else {

			pwmVal_R = PID_Control(leftTarget - leftEncoderVal, 0) * 1.072;
			if (abs(leftTarget - leftEncoderVal)
					> abs(rightTarget - rightEncoderVal)) {
				straightCorrection++;
			} else {
				straightCorrection--;
			}
			if (abs(leftTarget - leftEncoderVal) < 100) {
				straightCorrection = 0;
			}
			pwmVal_L = PID_Control(rightTarget - rightEncoderVal, 1)
					+ straightCorrection;

			if ((leftTarget - leftEncoderVal) < 0) {
				if (error_angle > 5) { // if turn left, 106. right 230. left +. right -.
					pwmVal_servo = ((19 * 5) / 5 + SERVOCENTER);
				} else if (error_angle < -5) {
					pwmVal_servo = ((-19 * 5) / 5 + SERVOCENTER);
				} else {
					pwmVal_servo = ((19 * error_angle) / 5 + SERVOCENTER);
				}

			} else {
				if (error_angle > 5) { // if turn left, 106. right 230. left +. right -.
					pwmVal_servo = ((-19 * 5) / 5 + SERVOCENTER);
				} else if (error_angle < -5) {
					pwmVal_servo = ((19 * 5) / 5 + SERVOCENTER);
				} else {
					pwmVal_servo = ((-19 * error_angle) / 5 + SERVOCENTER);
				}
			}

			//line correction equation is pwmVal = (19*error)/5 + SERVOCENTER
		}

		if (e_brake) {
			pwmVal_L = pwmVal_R = 0;
			leftTarget = leftEncoderVal;
			rightTarget = rightEncoderVal;
		}

		__HAL_TIM_SetCompare(&htim8,TIM_CHANNEL_1,pwmVal_L);
		__HAL_TIM_SetCompare(&htim8,TIM_CHANNEL_2,pwmVal_R);
		osDelay(1);

		if (times_acceptable > 1000) {
			times_acceptable = 1001;
		}
	}
	/* USER CODE END StartMotorTask */
}

void StartOLEDTask(void *argument) {
	/* USER CODE BEGIN StartOLEDTask */
	uint8_t usVal[20] = { 0 };
	uint8_t gyroVal[20] = { 0 };
	uint8_t encoderVal[20] = { 0 };
	uint8_t irVal[20] = { 0 };
	uint8_t command[20] = { 0 };

	for (;;) {
		sprintf(usVal, "UDist: %d \0", filtered_distance_int);
		OLED_ShowString(0, 10, usVal);

		int decimals = abs((int) ((total_angle - (int) (total_angle)) * 1000));
		sprintf(gyroVal, "Gyro: %d.%d \0", (int) total_angle, decimals);
		OLED_ShowString(0, 20, gyroVal);

		sprintf(encoderVal, "X: %d Y: %d \0", (int) x, (int) y);
		OLED_ShowString(0, 30, encoderVal);

		sprintf(irVal, "IR: %d D: %d \0", filtered_irreading_int, distanceir);
		OLED_ShowString(0, 40, irVal);

		sprintf(command, "C: %c%c%c%c%c \0", aRxBuffer[0], aRxBuffer[1],
				aRxBuffer[2], aRxBuffer[3], aRxBuffer[4]);
		OLED_ShowString(0, 50, command);

		OLED_Refresh_Gram();
		osDelay(100);
	}
	/* USER CODE END StartOLEDTask */
}

void StartGyroTask(void *argument) {
	/* USER CODE BEGIN StartGyroTask */
	gyroInit();
	uint8_t val[2] = { 0, 0 };

	int16_t angular_speed = 0;

	uint32_t tick = 0;
	double offset = 0;
	double trash = 0;
	int i = 0;
	osDelay(50);
	while (i < 1000) {
		osDelay(1);
		readByte(0x37, val);
		angular_speed = (val[0] << 8) | val[1];
		trash += (double) ((double) angular_speed)
				* ((HAL_GetTick() - tick) / 16400.0);
		offset += angular_speed;
		tick = HAL_GetTick();
		i++;
	}
	offset = offset / i;

	tick = HAL_GetTick();
	/* Infinite loop */
	for (;;) {
		osDelay(100);
		readByte(0x37, val);
		angular_speed = (val[0] << 8) | val[1];
		total_angle += (double) ((double) angular_speed - offset)
				* ((HAL_GetTick() - tick) / 16400.0);
		i -= angular_speed;
		tick = HAL_GetTick();
		i++;
	}
	/* USER CODE END StartGyroTask */
}

void StartUltrasonicTask(void *argument) {
	/* USER CODE BEGIN StartUltrasonicTask */
	HAL_TIM_IC_Start_IT(&htim4, TIM_CHANNEL_1);  // HC-SR04 Sensor
	/* Infinite loop */
	for (;;) {
		HCSR04_Read();
		if (filtered_distance <= usThreshold && usFlag == 1) {
			usFlag = 0;
			moveCarStop();
		}
		osDelay(10);
	}
	/* USER CODE END StartUltrasonicTask */
}

void StartCommunicateTask(void *argument) {
	/* USER CODE BEGIN StartCommunicateTask */
	char ack = 'A';

	aRxBuffer[0] = 'E';
	aRxBuffer[1] = 'M';
	aRxBuffer[2] = 'P';
	aRxBuffer[3] = 'T';
	aRxBuffer[4] = 'Y';

	/* Infinite loop */
	for (;;) {
		if (receivedInstruction == 1)
		{
			magnitude = 0;
					if (((aRxBuffer[0] == 'T' || aRxBuffer[0] == 'X')
							&& (aRxBuffer[1] == 'R' || aRxBuffer[1] == 'L')
							&& (0 <= aRxBuffer[2] - '0' <= 9)
							&& (0 <= aRxBuffer[3] - '0' <= 9)
							&& (0 <= aRxBuffer[4] - '0' <= 9))
							|| (aRxBuffer[0] == 'S' || aRxBuffer[0] == 'U' || aRxBuffer[0] == 'I'
									|| aRxBuffer[0] == 'J'
									|| aRxBuffer[0] == 'Y' || aRxBuffer[0] == 'V'
									|| aRxBuffer[0] == 'R' || aRxBuffer[0] == 'L')
									&& (aRxBuffer[1] == 'F' || aRxBuffer[1] == 'B')
									&& (0 <= aRxBuffer[2] - '0' <= 9)
									&& (0 <= aRxBuffer[3] - '0' <= 9)
									&& (0 <= aRxBuffer[4] - '0' <= 9)) {

						magnitude = ((int) (aRxBuffer[2]) - 48) * 100
								+ ((int) (aRxBuffer[3]) - 48) * 10
								+ ((int) (aRxBuffer[4]) - 48);

						if (aRxBuffer[1] == 'B') {
							magnitude *= -1;
						}

						osDelay(10);
						switch (aRxBuffer[0]) {
						case 'S':
							moveCarStraight(magnitude);
							flagDone = 1;
							aRxBuffer[0] = 'D';
							aRxBuffer[1] = 'O';
							aRxBuffer[2] = 'N';
							aRxBuffer[3] = 'E';
							aRxBuffer[4] = '!';
							osDelay(10);
							break;
						case 'I':
							xFlag = 1;
							irFlag = 1;
							initial_distance_ir = distanceirr;
							if (initial_distance_ir < irThreshold){
								moveCarStraight(magnitude);
							}
							flagDone = 1;
							aRxBuffer[0] = 'D';
							aRxBuffer[1] = 'O';
							aRxBuffer[2] = 'N';
							aRxBuffer[3] = 'E';
							aRxBuffer[4] = '!';
							osDelay(10);
							break;
						case 'J':
							jFlag = 1;
							jrFlag = 1;
							initial_distance_ir = distanceirr;
							if (initial_distance_ir >= irThreshold){
								moveCarStraight(magnitude);
							}
							flagDone = 1;
							aRxBuffer[0] = 'D';
							aRxBuffer[1] = 'O';
							aRxBuffer[2] = 'N';
							aRxBuffer[3] = 'E';
							aRxBuffer[4] = '!';
							osDelay(10);
							break;
						case 'U':
							usFlag = 1;
							if (uDistance > usThreshold) {
								moveCarStraight(magnitude);
							}
							flagDone = 1;
							aRxBuffer[0] = 'D';
							aRxBuffer[1] = 'O';
							aRxBuffer[2] = 'N';
							aRxBuffer[3] = 'E';
							aRxBuffer[4] = '!';
							osDelay(10);
							break;
						case 'X':
							xFlag = 1;
							irFlag = 1;
							if (!((aRxBuffer[1] == 'L' && (iDistanceL <= irThreshold - 500))
									|| (aRxBuffer[1] == 'R'
											&& (iDistanceR <= irThreshold - 500)))) {
								moveCarStraight(magnitude);
							}
							vTaskSuspend(IRTaskHandle);
							flagDone = 1;
							aRxBuffer[0] = 'D';
							aRxBuffer[1] = 'O';
							aRxBuffer[2] = 'N';
							aRxBuffer[3] = 'E';
							aRxBuffer[4] = '!';
							osDelay(10);
							break;
						case 'Y':
							yFlag = 1;
							usFlag = 1;
							if (uDistance - usThreshold < 10) {
								usSmall = 1;
							}

							if (uDistance > usThreshold) {
								moveCarStraight(magnitude);
							}
							flagDone = 1;
							aRxBuffer[0] = 'D';
							aRxBuffer[1] = 'O';
							aRxBuffer[2] = 'N';
							aRxBuffer[3] = 'E';
							aRxBuffer[4] = '!';
							osDelay(10);
							break;
						case 'T':
							if (irResumeFlag == 1) {
								vTaskResume(IRTaskHandle);
								irResumeFlag = 0;
							}
							moveCarStraight(-magnitude);
							if (aRxBuffer[1] == 'R') {
								irThreshold = iDistanceR;
							} else if (aRxBuffer[1] == 'L') {
								irThreshold = iDistanceL;
							}
							flagDone = 1;
							aRxBuffer[0] = 'D';
							aRxBuffer[1] = 'O';
							aRxBuffer[2] = 'N';
							aRxBuffer[3] = 'E';
							aRxBuffer[4] = '!';
							osDelay(10);
							break;
						case 'V':
							usThreshold = 25;
							usFlag = 1;
							if (uDistance > usThreshold) {
								moveCarStraight(magnitude);
							}
							flagDone = 1;
							aRxBuffer[0] = 'D';
							aRxBuffer[1] = 'O';
							aRxBuffer[2] = 'N';
							aRxBuffer[3] = 'E';
							aRxBuffer[4] = '!';
							osDelay(10);
							break;
						case 'R':
							moveCarRight(magnitude);
							flagDone = 1;
							aRxBuffer[0] = 'D';
							aRxBuffer[1] = 'O';
							aRxBuffer[2] = 'N';
							aRxBuffer[3] = 'E';
							aRxBuffer[4] = '!';
							osDelay(10);
							break;
						case 'L':
							moveCarLeft(magnitude);
							flagDone = 1;
							aRxBuffer[0] = 'D';
							aRxBuffer[1] = 'O';
							aRxBuffer[2] = 'N';
							aRxBuffer[3] = 'E';
							aRxBuffer[4] = '!';
							osDelay(10);
							break;
						}
					}
		}

		if (flagDone == 1) {
			receivedInstruction = 0;
			if (xFlag == 1) {
				osDelay(100);
				if (initial_distance_ir >= 50){
					x = 0;
				}
				else{
					x = ((((((float) (leftEncoderVal - 75000)
								+ (float) (rightEncoderVal - 75000)) / 2) / 4) / 379)
								* (M_PI * 6.5));
					x = abs(x);
				}
				xFlag = 0;
				sprintf(dataBuffer, "%03d", x);
				osDelay(300);
				HAL_UART_Transmit(&huart3, (uint8_t*) dataBuffer,
						strlen(dataBuffer), 0xFFFF);
			}
			else if (jFlag == 1){
				osDelay(100);
				if (initial_distance_ir < 50){
					x = 0;
				}
				else{
					x = ((((((float) (leftEncoderVal - 75000)
								+ (float) (rightEncoderVal - 75000)) / 2) / 4) / 379)
								* (M_PI * 6.5));
					x = abs(x);
				}
				jFlag = 0;
				sprintf(dataBuffer, "%03d", x);
				osDelay(300);
				HAL_UART_Transmit(&huart3, (uint8_t*) dataBuffer,
						strlen(dataBuffer), 0xFFFF);
			}

			else if (yFlag == 1) {
				osDelay(100);
				if (usSmall == 1) {
					if (uDistance < 40) {
						y = 0;
					} else {
						y = uDistance - usThreshold;
					}
					usSmall = 0;
				} else {
					y =
							((((((float) (leftEncoderVal - 75000)
									+ (float) (rightEncoderVal - 75000)) / 2)
									/ 4) / 379) * (M_PI * 6.5));
				}
				yFlag = 0;
				sprintf(dataBuffer, "%03d", y);
				osDelay(300);
				HAL_UART_Transmit(&huart3, (uint8_t*) dataBuffer,
						strlen(dataBuffer), 0xFFFF);
			} else {
				osDelay(300);
				HAL_UART_Transmit(&huart3, (uint8_t*) &ack, 1, 0xFFFF);
			}
			flagDone = 0;
		}
		osDelay(100);
	}
	/* USER CODE END StartCommunicateTask */
}

void StartEncoderTask(void *argument) {
	/* USER CODE BEGIN StartEncoderTask */
	int cntR;
	int dirR = 1;
	int diffR;
	int cntL;
	int dirL = 1;
	int diffL;

	HAL_TIM_Encoder_Start(&htim2, TIM_CHANNEL_ALL);
	HAL_TIM_Encoder_Start(&htim3, TIM_CHANNEL_ALL);

	uint32_t tick = HAL_GetTick();
	/* Infinite loop */
	for (;;) {
		if (HAL_GetTick() - tick > 10L) {
			cntL = __HAL_TIM_GET_COUNTER(&htim2);
			cntR = __HAL_TIM_GET_COUNTER(&htim3);
			if (cntR > 32000) {
				dirR = 1;
				diffR = (65536 - cntR);
			} else {
				dirR = -1;
				diffR = cntR;
			}

			if (dirR == 1) {
				rightEncoderVal -= diffR;
			} else {
				rightEncoderVal += diffR;
			}

			if (cntL > 32000) {
				dirL = 1;
				diffL = (65536 - cntL);
			} else {
				dirL = -1;
				diffL = cntL;
			}
			if (dirL == 1) {
				leftEncoderVal += diffL;
			} else {
				leftEncoderVal -= diffL;
			}

			__HAL_TIM_SET_COUNTER(&htim3, 0);
			__HAL_TIM_SET_COUNTER(&htim2, 0);

			tick = HAL_GetTick();
		}
		osDelay(50);
	}
	/* USER CODE END StartEncoderTask */
}

void StartIRTask(void *argument) {
	/* USER CODE BEGIN StartIRTask */
	/* Infinite loop */
	int i = 0;
	for (;;) {
		/*
		if (irResumeFlag == 1) {
			vTaskSuspend(IRTaskHandle);
		}
		*/
		IR_Left_Read();
		//IR_Right_Read();
		if (irFlag && i > 9 && distanceirr > irThreshold) {
			irFlag = 0;
			moveCarStop();
		}
		if (jrFlag && i > 9 && distanceirr <= irThreshold) {
			jrFlag = 0;
			moveCarStop();
		}
		i++;
		osDelay(10);
	}
	/* USER CODE END StartIRTask */
}

void Error_Handler(void) {
	__disable_irq();
	while (1) {
	}
}
